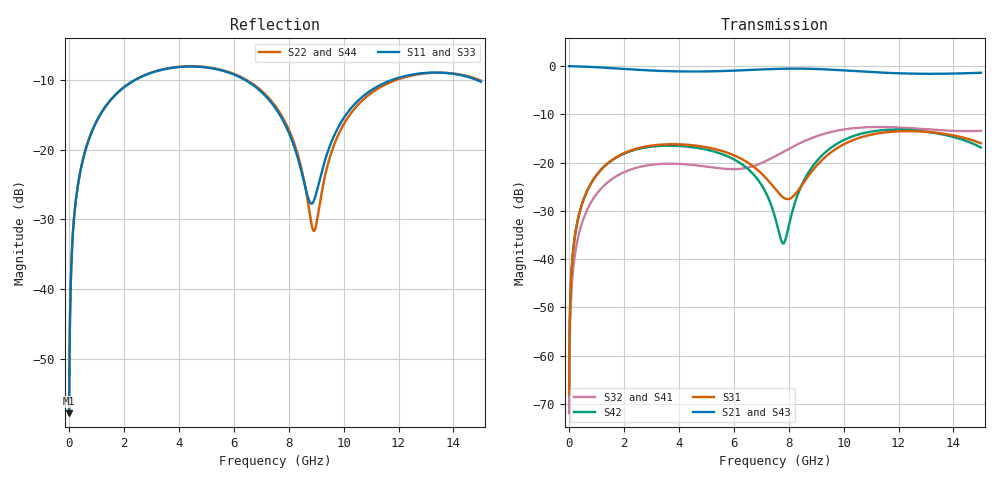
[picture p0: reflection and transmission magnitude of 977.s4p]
! Created with skrf 1.8.0 (http://scikit-rf.org).
# GHz S RI R 50.0
!freq ReS11 ImS11 ReS12 ImS12 ReS13 ImS13
! ReS14 ImS14
! ReS21 ImS21 ReS22 ImS22 ReS23 ImS23
! ReS24 ImS24
! ReS31 ImS31 ReS32 ImS32 ReS33 ImS33
! ReS34 ImS34
! ReS41 ImS41 ReS42 ImS42 ReS43 ImS43
! ReS44 ImS44
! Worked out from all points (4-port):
!   2499 points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, 5 MHz to 15 GHz, reference 50 ohm
!   strongest paths, dB at 5 MHz, 3.476 GHz, 7.19 GHz, 11.1 GHz, 15 GHz:
!     S21: 0.0, -1.0, -0.6, -1.3, -1.4
!     S43: 0.0, -1.0, -0.7, -1.3, -1.4
!     S31: -67.9, -16.2, -23.3, -14.1, -16.0
!     S42: -67.9, -16.5, -26.4, -13.5, -16.8
!     S32: -71.9, -20.2, -19.6, -12.6, -13.4
!     S41: -71.9, -20.3, -19.6, -12.7, -13.5
!   lowest |S11| = -57.9 dB at 5 MHz (marker M1), VSWR 1.00, Z = 50.1 + j0.0775 ohm
!   |S11| at or under -10 dB: start of sweep to 2.407 GHz; 6.416 GHz to 11.76 GHz (5.34 GHz wide, 58.8 % of centre); 14.85 GHz to end of sweep
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0.005  0.00102 0.000774  0.999 -0.00198  4.94e-05 0.000398  -4.8e-05 -0.000249
       0.999 -0.00198  0.00102 0.000774  -4.8e-05 -0.000249  4.93e-05 0.000398
       4.94e-05 0.000398  -4.8e-05 -0.000249  0.00102 0.000773  0.999 -0.00198
       -4.8e-05 -0.000249  4.93e-05 0.000398  0.999 -0.00198  0.00102 0.000773
0.3626511  0.0134 0.0601  0.9817 -0.1442  0.00602 0.0281  -0.00488 -0.0177
           0.9817 -0.1442  0.0134 0.0601  -0.00489 -0.0177  0.00569 0.0282
           0.00602 0.0281  -0.00489 -0.0177  0.0134 0.0601  0.9817 -0.1442
           -0.00488 -0.0177  0.00569 0.0282  0.9817 -0.1442  0.0134 0.0601
1.875782  0.1846 0.1935  0.7131 -0.6128  0.0954 0.0736  -0.0703 -0.0299
          0.7131 -0.6128  0.186 0.1929  -0.0705 -0.0298  0.0894 0.0789
          0.0954 0.0736  -0.0705 -0.0298  0.1845 0.1936  0.713 -0.6129
          -0.0703 -0.0299  0.0894 0.0789  0.713 -0.6129  0.1862 0.1929
6.008754  0.3093 -0.155  -0.4108 -0.7985  0.0743 -0.0933  -0.0462 0.0709
          -0.4108 -0.7985  0.3071 -0.1674  -0.0454 0.0727  0.0964 -0.0491
          0.0743 -0.0933  -0.0454 0.0727  0.3102 -0.1547  -0.4107 -0.7981
          -0.0462 0.0709  0.0964 -0.0491  -0.4107 -0.7981  0.3079 -0.1685
7.796999  0.0908 -0.1334  -0.8417 -0.4179  -0.0367 -0.0239  -0.0549 0.1169
          -0.8417 -0.4179  0.0812 -0.1471  -0.0517 0.1184  0.014 0.00413
          -0.0367 -0.0239  -0.0517 0.1184  0.0921 -0.1346  -0.8413 -0.418
          -0.0549 0.1169  0.014 0.00413  -0.8413 -0.418  0.0817 -0.1488
8.703627  0.0406 -0.0204  -0.9335 -0.1086  -0.0323 0.0644  -0.0198 0.1724
          -0.9335 -0.1086  0.0257 -0.0327  -0.0155 0.1728  0.0216 0.0747
          -0.0323 0.0644  -0.0155 0.1728  0.0411 -0.0226  -0.9334 -0.1087
          -0.0198 0.1724  0.0216 0.0747  -0.9334 -0.1087  0.026 -0.0343
15  0.2718 -0.1435  0.3462 0.7808  0.0896 -0.1313  0.1686 -0.1266
    0.3462 0.7808  0.2768 -0.1461  0.164 -0.1382  0.1043 -0.0992
    0.0896 -0.1313  0.164 -0.1382  0.2742 -0.1379  0.3477 0.7794
    0.1686 -0.1266  0.1043 -0.0992  0.3477 0.7794  0.277 -0.1541
